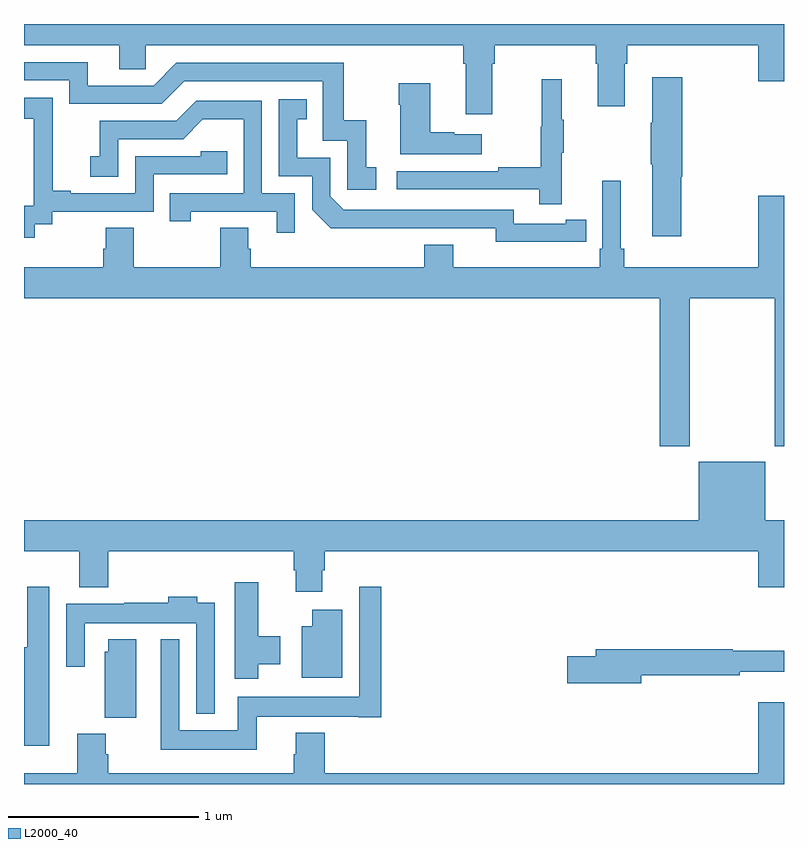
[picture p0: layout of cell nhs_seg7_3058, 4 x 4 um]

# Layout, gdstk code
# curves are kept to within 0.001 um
import gdstk
lib = gdstk.Library(unit=1e-6, precision=1e-09)
def P(c, l, *ps):  # polygons
    for p in ps: c.add(gdstk.Polygon(p, *l))
L2000_40 = (2000, 40)

nhs_seg7_3058 = lib.new_cell('nhs_seg7_3058')
P(nhs_seg7_3058, L2000_40, [(305,1061.888),(305.501,1061.888),(305.501,1061.761),(305.64,1061.761),(305.64,1061.888),(307.313,1061.888),(307.313,1061.792),(307.325,1061.792),(307.325,1061.526),(307.465,1061.526),(307.465,1061.792),(307.478,1061.792),(307.478,1061.888),(308.009,1061.888),(308.009,1061.792),(308.021,1061.792),(308.021,1061.568),(308.161,1061.568),(308.161,1061.792),(308.174,1061.792),(308.174,1061.888),(308.864,1061.888),(308.864,1061.7),(309,1061.7),(309,1062),(305,1062)],
  [(306.853,1061.247),(306.8,1061.247),(306.8,1061.494),(306.682,1061.494),(306.682,1061.796),(305.802,1061.796),(305.682,1061.676),(305.335,1061.676),(305.335,1061.799),(305,1061.799),(305,1061.703),(305.238,1061.703),(305.238,1061.58),(305.724,1061.58),(305.844,1061.7),(306.573,1061.7),(306.573,1061.385),(306.702,1061.385),(306.702,1061.127),(306.853,1061.127)],
  [(308.46,1061.196),(308.465,1061.196),(308.465,1061.719),(308.306,1061.719),(308.306,1061.48),(308.299,1061.48),(308.299,1061.263),(308.306,1061.263),(308.306,1060.884),(308.46,1060.884)],
  [(307.829,1061.323),(307.84,1061.323),(307.84,1061.497),(307.829,1061.497),(307.829,1061.71),(307.726,1061.71),(307.726,1061.46),(307.719,1061.46),(307.719,1061.246),(307.495,1061.246),(307.495,1061.226),(306.963,1061.226),(306.963,1061.13),(307.711,1061.13),(307.711,1061.052),(307.829,1061.052)],
  [(307.408,1061.419),(307.265,1061.419),(307.265,1061.429),(307.138,1061.429),(307.138,1061.689),(306.973,1061.689),(306.973,1061.576),(306.98,1061.576),(306.98,1061.315),(307.408,1061.315)],
  [(305.056,1060.945),(305.148,1060.945),(305.148,1061.013),(305.682,1061.013),(305.682,1061.208),(306.071,1061.208),(306.071,1061.331),(305.931,1061.331),(305.931,1061.304),(305.586,1061.304),(305.586,1061.109),(305.245,1061.109),(305.245,1061.122),(305.15,1061.122),(305.15,1061.405),(305.151,1061.405),(305.151,1061.611),(305,1061.611),(305,1061.501),(305.051,1061.501),(305.051,1061.273),(305.052,1061.273),(305.052,1061.043),(305,1061.043),(305,1060.875),(305.056,1060.875)],
  [(307.85,1060.854),(307.958,1060.854),(307.958,1060.97),(307.85,1060.97),(307.85,1060.95),(307.578,1060.95),(307.578,1061.022),(306.684,1061.022),(306.612,1061.094),(306.612,1061.295),(306.439,1061.295),(306.439,1061.499),(306.488,1061.499),(306.488,1061.605),(306.342,1061.605),(306.342,1061.199),(306.516,1061.199),(306.516,1061.022),(306.614,1060.925),(307.482,1060.926),(307.482,1060.853)],
  [(306.426,1061.109),(306.252,1061.109),(306.252,1061.595),(305.906,1061.595),(305.801,1061.49),(305.398,1061.49),(305.398,1061.305),(305.349,1061.305),(305.349,1061.196),(305.496,1061.196),(305.496,1061.394),(305.838,1061.394),(305.942,1061.498),(306.156,1061.498),(306.156,1061.109),(305.767,1061.109),(305.767,1060.962),(305.878,1060.962),(305.878,1061.013),(306.329,1061.013),(306.329,1060.902),(306.426,1060.902)],
  [(308.505,1060.556),(308.95,1060.556),(308.95,1059.777),(309,1059.777),(309,1061.095),(308.864,1061.095),(308.864,1060.72),(308.159,1060.72),(308.159,1060.816),(308.14,1060.816),(308.14,1061.176),(308.043,1061.176),(308.043,1060.816),(308.03,1060.816),(308.03,1060.72),(307.258,1060.72),(307.258,1060.837),(307.106,1060.837),(307.106,1060.72),(306.194,1060.72),(306.194,1060.818),(306.181,1060.818),(306.181,1060.928),(306.034,1060.928),(306.034,1060.72),(305.577,1060.72),(305.577,1060.928),(305.429,1060.928),(305.429,1060.818),(305.417,1060.818),(305.417,1060.72),(305,1060.72),(305,1060.556),(308.345,1060.556),(308.345,1059.777),(308.505,1059.777)],
  [(306.571,1059.126),(306.584,1059.126),(306.584,1059.224),(308.864,1059.224),(308.864,1059.036),(309,1059.036),(309,1059.388),(308.902,1059.388),(308.902,1059.697),(308.552,1059.697),(308.552,1059.388),(305,1059.388),(305,1059.224),(305.291,1059.224),(305.291,1059.035),(305.444,1059.035),(305.444,1059.224),(306.419,1059.224),(306.419,1059.126),(306.431,1059.126),(306.431,1059.012),(306.571,1059.012)],
  [(306.232,1058.63),(306.349,1058.63),(306.349,1058.778),(306.232,1058.778),(306.232,1059.061),(306.11,1059.061),(306.11,1058.553),(306.232,1058.553)],
  [(305.134,1058.615),(305.133,1058.615),(305.133,1059.037),(305.017,1059.037),(305.017,1058.719),(305,1058.719),(305,1058.202),(305.134,1058.202)],
  [(306.224,1058.354),(306.758,1058.354),(306.758,1058.352),(306.881,1058.352),(306.881,1059.037),(306.765,1059.037),(306.765,1058.458),(306.126,1058.458),(306.126,1058.284),(305.817,1058.284),(305.817,1058.761),(305.72,1058.761),(305.72,1058.18),(306.224,1058.18)],
  [(306.003,1058.953),(305.911,1058.953),(305.911,1058.986),(305.759,1058.986),(305.759,1058.953),(305.527,1058.953),(305.527,1058.95),(305.223,1058.95),(305.223,1058.616),(305.319,1058.616),(305.319,1058.846),(305.907,1058.846),(305.907,1058.369),(306.003,1058.369)],
  [(306.676,1058.917),(306.518,1058.917),(306.518,1058.83),(306.461,1058.83),(306.461,1058.558),(306.676,1058.558)],
  [(305.59,1058.761),(305.444,1058.761),(305.444,1058.697),(305.426,1058.697),(305.426,1058.35),(305.59,1058.35)],
  [(308.248,1058.572),(308.768,1058.572),(308.768,1058.591),(309,1058.591),(309,1058.701),(308.731,1058.701),(308.731,1058.708),(308.009,1058.708),(308.009,1058.672),(307.86,1058.672),(307.86,1058.53),(308.248,1058.53)],
  [(309,1058.431),(308.864,1058.431),(308.864,1058.056),(306.584,1058.056),(306.584,1058.269),(306.431,1058.269),(306.431,1058.157),(306.419,1058.157),(306.419,1058.056),(305.444,1058.056),(305.444,1058.156),(305.431,1058.156),(305.431,1058.265),(305.279,1058.265),(305.279,1058.056),(305,1058.056),(305,1058),(309,1058)])

lib.write_gds('nhs_seg7_3058.gds')
